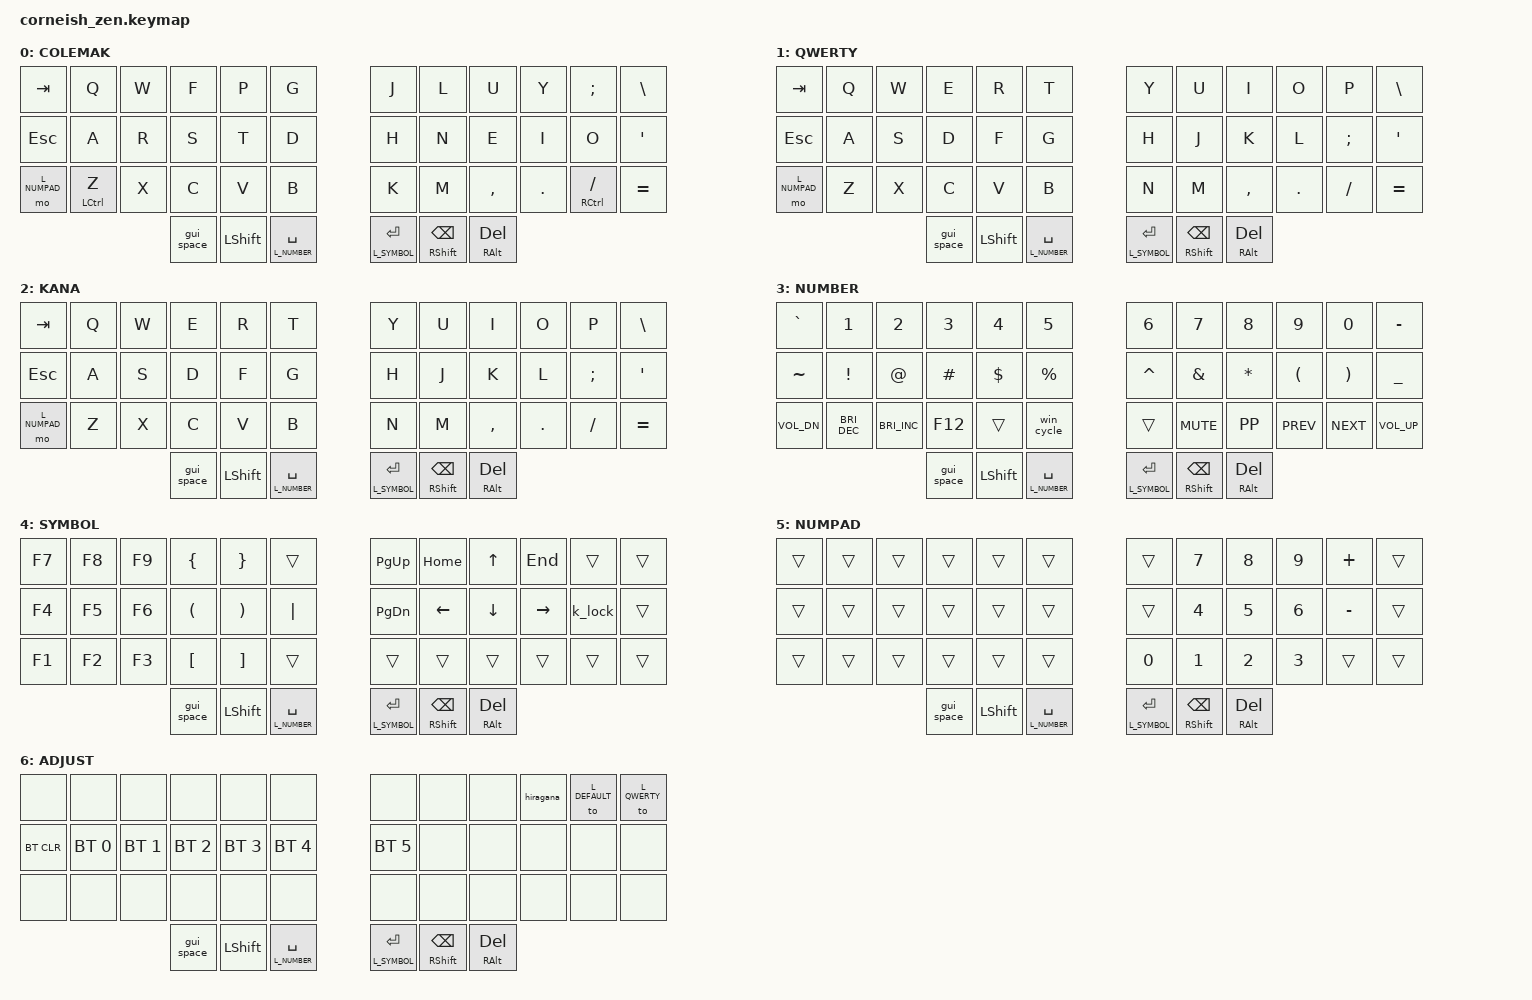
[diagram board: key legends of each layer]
#include <behaviors.dtsi>
#include <dt-bindings/zmk/keys.h>
#include <dt-bindings/zmk/bt.h>

#define L_DEFAULT 0 // COLEMAK is the default layout
#define L_QWERTY 1
#define L_KANA 2
#define L_NUMBER 3
#define L_SYMBOL 4
#define L_NUMPAD 5
#define L_ADJUST 6

#define NUMBER_SPC &lt L_NUMBER SPACE
#define SYMBOL_RET &lt L_SYMBOL RET
#define RSHIFT_BSPC &mt RSHIFT BSPC
#define ALT_DEL &mt RALT DEL
#define GUI_SPACE &gui_space

/ {
  chosen {
    zmk,matrix_transform = &default_transform;
  };
};

/ {

        macros {
          gui_and_space: gui_and_space {
            label = "ZM_gui_and_space";
            compatible = "zmk,behavior-macro";
            #binding-cells = <0>;
            wait-ms = <1>;
            bindings
                = <&macro_press &kp LGUI>
                , <&macro_tap &kp SPACE>
                , <&macro_release &kp LGUI>
                ;
          };

          win_cycle: win_cycle {
           label = "ZM_win_cycle";
           compatible = "zmk,behavior-macro";
           #binding-cells = <0>;
           wait-ms = <1>;
           bindings 
                = <&macro_press &kp LGUI >
                , <&macro_tap &kp GRAVE>
                , <&macro_release &kp LGUI>
                ;
           };

          k_lock: k_lock {
           label = "ZM_k_lock";
           compatible = "zmk,behavior-macro";
           #binding-cells = <0>;
           wait-ms = <1>;
           bindings
                = <&macro_press &kp LGUI>
                , <&macro_press &kp LCTRL>
                , <&macro_tap   &kp Q>
                , <&macro_release &kp LCTRL>
                , <&macro_release &kp LGUI>
                ;
           };

          hiragana: hiragana {
           label = "ZM_hiragana";
           compatible = "zmk,behavior-macro";
           #binding-cells = <0>;
           wait-ms = <10>;
           bindings
                = <&tog L_KANA>
                , <&macro_press &kp RCTRL>
                , <&macro_tap   &kp SPACE>
                , <&macro_release &kp RCTRL>
                ;
           };
        };

        behaviors {
          gui_space: tap_dance_0 {
            compatible = "zmk,behavior-tap-dance";
            label = "TAP_DANCE_0";
            #binding-cells = <0>;
            tapping-term-ms = <200>;
            bindings = <&kp LGUI>, <&gui_and_space>;
          };           
        };
                
        conditional_layers {
         compatible = "zmk,conditional-layers";                        
         tri_layer {
           if-layers = <L_NUMBER L_SYMBOL>;
           then-layer = <L_ADJUST>;                        
         };
        };

        keymap {
                compatible = "zmk,keymap";

                default_layer {
                        label = "COLEMAK";
                        bindings = <
// ╭─────────────┬─────────────┬─────────────┬─────────────┬─────────────┬─────────────╮   ╭─────────────┬─────────────┬─────────────┬─────────────┬─────────────┬─────────────╮
        &kp TAB       &kp Q          &kp W        &kp F         &kp P         &kp G             &kp J        &kp L          &kp U        &kp Y        &kp SEMI       &kp BSLH
// ├─────────────┼─────────────┼─────────────┼─────────────┼─────────────┼─────────────┤   ├─────────────┼─────────────┼─────────────┼─────────────┼─────────────┼─────────────┤
        &kp ESC       &kp A          &kp R        &kp S         &kp T         &kp D             &kp H        &kp N          &kp E        &kp I        &kp O          &kp SQT
// ├─────────────┼─────────────┼─────────────┼─────────────┼─────────────┼─────────────┤   ├─────────────┼─────────────┼─────────────┼─────────────┼─────────────┼─────────────┤
     &mo L_NUMPAD  &mt LCTRL Z       &kp X        &kp C         &kp V         &kp B             &kp K        &kp M        &kp COMMA      &kp DOT    &mt RCTRL FSLH   &kp EQUAL
// ╰─────────────┴─────────────┴─────────────┼─────────────┼─────────────┼─────────────┤   ├─────────────┼─────────────┴─────────────┴─────────────┴─────────────┴─────────────╯
                                                GUI_SPACE    &kp LSHIFT     NUMBER_SPC        SYMBOL_RET   RSHIFT_BSPC     ALT_DEL
//                                           ╰─────────────┴─────────────┴─────────────╯   ╰─────────────┴─────────────┴─────────────╯
                       >;

                };
				
                qwerty_layer {
                        label = "QWERTY";
                        bindings = <

// ╭─────────────┬─────────────┬─────────────┬─────────────┬─────────────┬─────────────╮   ╭─────────────┬─────────────┬─────────────┬─────────────┬─────────────┬─────────────╮
        &kp TAB       &kp Q         &kp W         &kp E         &kp R         &kp T             &kp Y         &kp U         &kp I         &kp O         &kp P        &kp BSLH
// ├─────────────┼─────────────┼─────────────┼─────────────┼─────────────┼─────────────┤   ├─────────────┼─────────────┼─────────────┼─────────────┼─────────────┼─────────────┤
        &kp ESC       &kp A         &kp S         &kp D         &kp F         &kp G             &kp H         &kp J         &kp K         &kp L        &kp SEMI      &kp SQT
// ├─────────────┼─────────────┼─────────────┼─────────────┼─────────────┼─────────────┤   ├─────────────┼─────────────┼─────────────┼─────────────┼─────────────┼─────────────┤
     &mo L_NUMPAD     &kp Z         &kp X         &kp C         &kp V         &kp B             &kp N         &kp M       &kp COMMA      &kp DOT       &kp FSLH      &kp EQUAL
// ╰─────────────┴─────────────┴─────────────┼─────────────┼─────────────┼─────────────┤   ├─────────────┼─────────────┴─────────────┴─────────────┴─────────────┴─────────────╯
                                                GUI_SPACE    &kp LSHIFT     NUMBER_SPC        SYMBOL_RET   RSHIFT_BSPC     ALT_DEL
//                                           ╰─────────────┴─────────────┴─────────────╯   ╰─────────────┴─────────────┴─────────────╯
                        >;
                };
				
                kana_layer {
                        label = "KANA";
                        bindings = <
// ╭─────────────┬─────────────┬─────────────┬─────────────┬─────────────┬─────────────╮   ╭─────────────┬─────────────┬─────────────┬─────────────┬─────────────┬─────────────╮
       &kp TAB        &kp Q         &kp W         &kp E         &kp R         &kp T             &kp Y         &kp U         &kp I         &kp O         &kp P       &kp BSLH
// ├─────────────┼─────────────┼─────────────┼─────────────┼─────────────┼─────────────┤   ├─────────────┼─────────────┼─────────────┼─────────────┼─────────────┼─────────────┤
       &kp ESC        &kp A         &kp S         &kp D         &kp F         &kp G             &kp H         &kp J        &kp K          &kp L       &kp SEMI       &kp SQT
// ├─────────────┼─────────────┼─────────────┼─────────────┼─────────────┼─────────────┤   ├─────────────┼─────────────┼─────────────┼─────────────┼─────────────┼─────────────┤
    &mo L_NUMPAD      &kp Z         &kp X         &kp C         &kp V         &kp B             &kp N         &kp M        &kp COMMA      &kp DOT     &kp FSLH      &kp EQUAL
// ╰─────────────┴─────────────┴─────────────┼─────────────┼─────────────┼─────────────┤   ├─────────────┼─────────────┴─────────────┴─────────────┴─────────────┴─────────────╯
                                                GUI_SPACE    &kp LSHIFT     NUMBER_SPC        SYMBOL_RET   RSHIFT_BSPC     ALT_DEL
//                                           ╰─────────────┴─────────────┴─────────────╯   ╰─────────────┴─────────────┴─────────────╯
                        >;
                };
				
				
                number_layer {
                        label = "NUMBER";
                        bindings = <
// ╭─────────────┬─────────────┬─────────────┬─────────────┬─────────────┬─────────────╮   ╭─────────────┬─────────────┬─────────────┬─────────────┬─────────────┬─────────────╮
      &kp GRAVE     &kp N1          &kp N2        &kp N3       &kp N4         &kp N5            &kp N6       &kp N7       &kp N8          &kp N9        &kp N0      &kp MINUS
// ├─────────────┼─────────────┼─────────────┼─────────────┼─────────────┼─────────────┤   ├─────────────┼─────────────┼─────────────┼─────────────┼─────────────┼─────────────┤
      &kp TILDE  &kp EXCLAMATION &kp AT_SIGN    &kp HASH     &kp DOLLAR    &kp PERCENT         &kp CARET    &kp AMPS       &kp STAR      &kp LPAR      &kp RPAR   &kp UNDERSCORE
// ├─────────────┼─────────────┼─────────────┼─────────────┼─────────────┼─────────────┤   ├─────────────┼─────────────┼─────────────┼─────────────┼─────────────┼─────────────┤
    &kp C_VOL_DN  &kp C_BRI_DEC &kp C_BRI_INC    &kp F12       &trans       &win_cycle          &trans      &kp K_MUTE     &kp K_PP     &kp K_PREV    &kp K_NEXT   &kp C_VOL_UP
// ╰─────────────┴─────────────┴─────────────┼─────────────┼─────────────┼─────────────┤   ├─────────────┼─────────────┴─────────────┴─────────────┴─────────────┴─────────────╯
                                                GUI_SPACE    &kp LSHIFT     NUMBER_SPC        SYMBOL_RET   RSHIFT_BSPC     ALT_DEL
//                                           ╰─────────────┴─────────────┴─────────────╯   ╰─────────────┴─────────────┴─────────────╯
                        >;
                };

                symbol_layer {
                        label = "SYMBOL";
                        bindings = <
// ╭─────────────┬─────────────┬─────────────┬─────────────┬─────────────┬─────────────╮   ╭─────────────┬─────────────┬─────────────┬─────────────┬─────────────┬─────────────╮
       &kp F7        &kp F8        &kp F9       &kp LBRC      &kp RBRC     &trans             &kp PG_UP     &kp HOME       &kp UP        &kp END       &trans        &trans
// ├─────────────┼─────────────┼─────────────┼─────────────┼─────────────┼─────────────┤   ├─────────────┼─────────────┼─────────────┼─────────────┼─────────────┼─────────────┤
       &kp F4        &kp F5        &kp F6       &kp LPAR      &kp RPAR     &kp PIPE           &kp PG_DN     &kp LEFT      &kp DOWN     &kp RIGHT       &k_lock       &trans
// ├─────────────┼─────────────┼─────────────┼─────────────┼─────────────┼─────────────┤   ├─────────────┼─────────────┼─────────────┼─────────────┼─────────────┼─────────────┤
       &kp F1        &kp F2        &kp F3       &kp LBKT      &kp RBKT     &trans              &trans        &trans        &trans        &trans        &trans        &trans
// ╰─────────────┴─────────────┴─────────────┼─────────────┼─────────────┼─────────────┤   ├─────────────┼─────────────┴─────────────┴─────────────┴─────────────┴─────────────╯
                                                GUI_SPACE    &kp LSHIFT     NUMBER_SPC        SYMBOL_RET   RSHIFT_BSPC     ALT_DEL
//                                           ╰─────────────┴─────────────┴─────────────╯   ╰─────────────┴─────────────┴─────────────╯
                        >;
                };
                                               
                numpad_layer {
                        label = "NUMPAD";
                        bindings = <
// ╭─────────────┬─────────────┬─────────────┬─────────────┬─────────────┬─────────────╮   ╭─────────────┬─────────────┬─────────────┬─────────────┬─────────────┬─────────────╮
       &trans        &trans        &trans        &trans        &trans        &trans            &trans        &kp N7         &kp N8        &kp N9       &kp PLUS      &trans
// ├─────────────┼─────────────┼─────────────┼─────────────┼─────────────┼─────────────┤   ├─────────────┼─────────────┼─────────────┼─────────────┼─────────────┼─────────────┤
       &trans        &trans        &trans        &trans        &trans        &trans            &trans        &kp N4         &kp N5        &kp N6       &kp MINUS     &trans
// ├─────────────┼─────────────┼─────────────┼─────────────┼─────────────┼─────────────┤   ├─────────────┼─────────────┼─────────────┼─────────────┼─────────────┼─────────────┤
       &trans        &trans        &trans        &trans        &trans        &trans            &kp N0        &kp N1         &kp N2        &kp N3       &trans        &trans
// ╰─────────────┴─────────────┴─────────────┼─────────────┼─────────────┼─────────────┤   ├─────────────┼─────────────┴─────────────┴─────────────┴─────────────┴─────────────╯
                                                GUI_SPACE    &kp LSHIFT     NUMBER_SPC        SYMBOL_RET   RSHIFT_BSPC     ALT_DEL
//                                           ╰─────────────┴─────────────┴─────────────╯   ╰─────────────┴─────────────┴─────────────╯
                        >;
                };
                
				
                adjust_layer {
                        label = "ADJUST";
                        bindings = <
// ╭─────────────┬─────────────┬─────────────┬─────────────┬─────────────┬─────────────╮   ╭─────────────┬─────────────┬─────────────┬─────────────┬─────────────┬─────────────╮
        &none         &none        &none         &none          &none        &none             &none          &none        &none       &hiragana   &to L_DEFAULT  &to L_QWERTY
// ├─────────────┼─────────────┼─────────────┼─────────────┼─────────────┼─────────────┤   ├─────────────┼─────────────┼─────────────┼─────────────┼─────────────┼─────────────┤
      &bt BT_CLR   &bt BT_SEL 0  &bt BT_SEL 1  &bt BT_SEL 2  &bt BT_SEL 3  &bt BT_SEL 4      &bt BT_SEL 5     &none        &none          &none         &none         &none
// ├─────────────┼─────────────┼─────────────┼─────────────┼─────────────┼─────────────┤   ├─────────────┼─────────────┼─────────────┼─────────────┼─────────────┼─────────────┤
        &none         &none        &none         &none          &none        &none             &none          &none        &none          &none         &none         &none
// ╰─────────────┴─────────────┴─────────────┼─────────────┼─────────────┼─────────────┤   ├─────────────┼─────────────┴─────────────┴─────────────┴─────────────┴─────────────╯
                                                GUI_SPACE    &kp LSHIFT     NUMBER_SPC        SYMBOL_RET   RSHIFT_BSPC     ALT_DEL
//                                           ╰─────────────┴─────────────┴─────────────╯   ╰─────────────┴─────────────┴─────────────╯
                        >;
             };
	};
};
